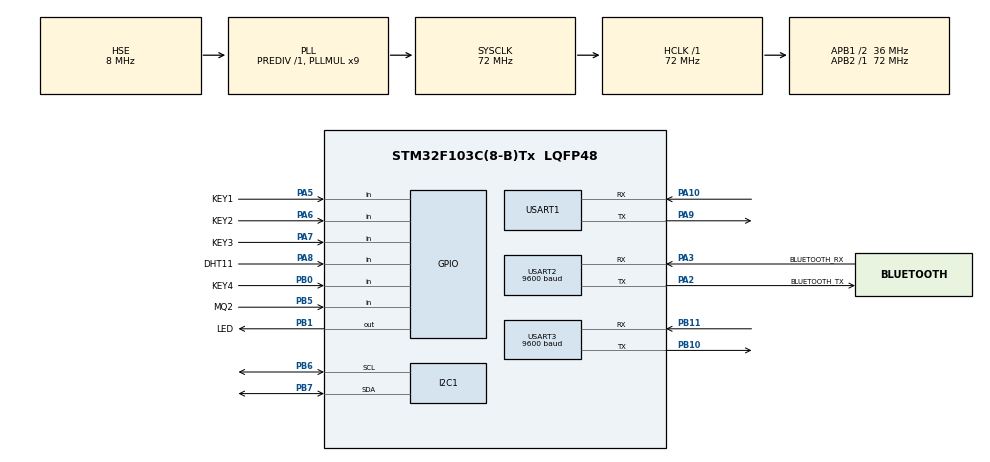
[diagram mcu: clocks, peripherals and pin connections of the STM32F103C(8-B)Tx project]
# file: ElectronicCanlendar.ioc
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Mcu.Family=STM32F1
Mcu.Name=STM32F103C(8-B)Tx
Mcu.Package=LQFP48
NVIC.PriorityGroup=NVIC_PRIORITYGROUP_4
NVIC.USART1_IRQn=true\:0\:0\:false\:false\:true\:true\:true\:true
NVIC.USART2_IRQn=true\:0\:0\:false\:false\:true\:true\:true\:true
PA10.Mode=Asynchronous
PA10.Signal=USART1_RX
PA2.GPIO_Label=BLUETOOTH_TX
PA2.Mode=Asynchronous
PA2.Signal=USART2_TX
PA3.GPIO_Label=BLUETOOTH_RX
PA3.Mode=Asynchronous
PA3.Signal=USART2_RX
PA5.GPIO_Label=KEY1
PA5.GPIO_PuPd=GPIO_PULLUP
PA5.Signal=GPIO_Input
PA6.GPIO_Label=KEY2
PA6.GPIO_PuPd=GPIO_PULLUP
PA6.Signal=GPIO_Input
PA7.GPIO_Label=KEY3
PA7.GPIO_PuPd=GPIO_PULLUP
PA7.Signal=GPIO_Input
PA8.GPIO_Label=DHT11
PA8.Signal=GPIO_Input
PA9.Mode=Asynchronous
PA9.Signal=USART1_TX
PB0.GPIO_Label=KEY4
PB0.GPIO_PuPd=GPIO_PULLUP
PB0.Signal=GPIO_Input
PB1.GPIO_Label=LED
PB1.Signal=GPIO_Output
PB10.Mode=Asynchronous
PB10.Signal=USART3_TX
PB11.Mode=Asynchronous
PB11.Signal=USART3_RX
PB5.GPIO_Label=MQ2
PB5.GPIO_PuPd=GPIO_PULLUP
PB5.Signal=GPIO_Input
PB6.Mode=I2C
PB6.Signal=I2C1_SCL
PB7.Mode=I2C
PB7.Signal=I2C1_SDA
PC14-OSC32_IN.Mode=LSE-External-Oscillator
PC14-OSC32_IN.Signal=RCC_OSC32_IN
PC15-OSC32_OUT.Mode=LSE-External-Oscillator
PC15-OSC32_OUT.Signal=RCC_OSC32_OUT
PD0-OSC_IN.Mode=HSE-External-Oscillator
PD0-OSC_IN.Signal=RCC_OSC_IN
PD1-OSC_OUT.Mode=HSE-External-Oscillator
PD1-OSC_OUT.Signal=RCC_OSC_OUT
ProjectManager.HeapSize=0x200
ProjectManager.StackSize=0x400
ProjectManager.TargetToolchain=STM32CubeIDE
RCC.AHBFreq_Value=72000000
RCC.APB1CLKDivider=RCC_HCLK_DIV2
RCC.APB1Freq_Value=36000000
RCC.APB1TimFreq_Value=72000000
RCC.APB2Freq_Value=72000000
RCC.APB2TimFreq_Value=72000000
RCC.HCLKFreq_Value=72000000
RCC.PLLMUL=RCC_PLL_MUL9
RCC.PLLSourceVirtual=RCC_PLLSOURCE_HSE
RCC.RTCClockSelection=RCC_RTCCLKSOURCE_LSE
RCC.SYSCLKFreq_VALUE=72000000
RCC.SYSCLKSource=RCC_SYSCLKSOURCE_PLLCLK
RCC.USBFreq_Value=72000000
RTC.Date=1
RTC.Hours=1
RTC.Minutes=1
RTC.Month=RTC_MONTH_JANUARY
RTC.Seconds=1
RTC.Year=1
USART1.VirtualMode=VM_ASYNC
USART2.BaudRate=9600
USART2.VirtualMode=VM_ASYNC
USART3.BaudRate=9600
USART3.VirtualMode=VM_ASYNC
VP_RTC_VS_RTC_Activate.Mode=RTC_Enabled
VP_RTC_VS_RTC_Calendar.Mode=RTC_Calendar
VP_SYS_VS_ND.Mode=No_Debug
VP_TIM3_VS_ClockSourceINT.Mode=Internal
board=custom

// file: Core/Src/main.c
/* USER CODE BEGIN Header */
/**
  ******************************************************************************
  * @file           : main.c
  * @brief          : Main program body
  ******************************************************************************
  * @attention
  *
  * Copyright (c) 2023 STMicroelectronics.
  * All rights reserved.
  *
  * This software is licensed under terms that can be found in the LICENSE file
  * in the root directory of this software component.
  * If no LICENSE file comes with this software, it is provided AS-IS.
  *
  ******************************************************************************
  */
/* USER CODE END Header */
#include "main.h"
#include "i2c.h"
#include "rtc.h"
#include "tim.h"
#include "usart.h"
#include "gpio.h"

/* USER CODE BEGIN Includes */

#include "led.h"
#include "oled.h"
#include "show.h"
#include "font.h"
#include "key.h"
#include "alarmClock.h"
#include "mq2.h"
#include "dht11.h"
#include "song.h"
#include "changeScreen.h"
//#include "lunarCanlender.h"

/* USER CODE END Includes */

void SystemClock_Config(void);

/* USER CODE BEGIN 0 */
//void HAL_GPIO_EXTI_Callback(uint16_t GPIO_Pin)
//{
//	switch(GPIO_Pin)
//	{
//	case KEY1_Pin:
//		LED_SET_OFF;
//		break;
//
//	case KEY2_Pin:
//		LED_SET_ON;
//		break;
//
//	case KEY3_Pin:
//		extrance();
//		break;
//
//	case KEY4_Pin:
//		LED_SET_ON;
//		break;
//	}
//}
/* USER CODE END 0 */

int main(void)
{

  /* MCU Configuration--------------------------------------------------------*/

  /* Reset of all peripherals, Initializes the Flash interface and the Systick. */
  HAL_Init();

  /* Configure the system clock */
  SystemClock_Config();

  /* Initialize all configured peripherals */
  MX_GPIO_Init();
  MX_I2C1_Init();
  MX_RTC_Init();
  MX_TIM3_Init();
  MX_USART1_UART_Init();
  MX_USART2_UART_Init();
  MX_USART3_UART_Init();
  /* USER CODE BEGIN 2 */
  font();
  oled_init();
  settingAMPM();
  uint8_t keyValue;		// 读取键值
  uint8_t bluetoothCommandId;		// 蓝牙命令ID
  /* USER CODE END 2 */

  /* Infinite loop */
  /* USER CODE BEGIN WHILE */
  while (1)
  {
	  // 检测闹钟时间
	  checkAlarmClock();

	  // 烟雾检测
	  MQ2_Scan();

	  // 读取处理蓝牙命令后的结果
	  switch(returnFlagBluetooth())
	  {
	  case 18:
		  oled_clear();
		  clearBluetoothCommand();

		  // 温湿度显示
		  bluetoothCommandId = returnFlagBluetooth();
		  clearBluetoothCommand();
		  while(bluetoothCommandId != 18)
		  {
			  screen1();
			  bluetoothCommandId = returnFlagBluetooth();
			  clearBluetoothCommand();
		  }
		  oled_clear();

		  // 节气
		  bluetoothCommandId = returnFlagBluetooth();
		  clearBluetoothCommand();
		  while(bluetoothCommandId != 18)
		  {
			  screen2();
			  bluetoothCommandId = returnFlagBluetooth();
			  clearBluetoothCommand();
		  }
		  oled_clear();

		  // MP3播放音乐
		  selectMusicMP3();
		  oled_clear();
		  break;

	  case 2:
		  break;

	  case 0:
		  clearBluetoothCommand();
		  extranceDateAndTime();
		  break;

	  case 5:
		  clearBluetoothCommand();
		  extranceAlarmClock();
		  break;

	  default:
		  clearBluetoothCommand();
		  RTC_TimeAndDate_Show();
		  break;
	  }

	  // 按键处理
	  switch(readKeyValue())
	  {
	  case 1:
		  oled_clear();

		  // 温湿度显示
		  keyValue = readKeyValue();
		  while(keyValue != 1)
		  {
			  screen1();
			  keyValue = readKeyValue();
		  }
		  oled_clear();

		  // 节气
		  keyValue = readKeyValue();
		  while(keyValue != 1)
		  {
			  screen2();
			  keyValue = readKeyValue();
		  }
		  oled_clear();

		  // MP3播放音乐
		  selectMusicMP3();
		  oled_clear();
		  break;

	  case 2:
		  break;

	  case 3:
		  extranceDateAndTime();
		  break;

	  case 4:
		  extranceAlarmClock();
		  break;

	  default:
		  RTC_TimeAndDate_Show();
		  break;
	  }

    /* USER CODE END WHILE */

  }
}

void SystemClock_Config(void)
{
  RCC_OscInitTypeDef RCC_OscInitStruct = {0};
  RCC_ClkInitTypeDef RCC_ClkInitStruct = {0};
  RCC_PeriphCLKInitTypeDef PeriphClkInit = {0};

  /** Initializes the RCC Oscillators according to the specified parameters
  * in the RCC_OscInitTypeDef structure.
  */
  RCC_OscInitStruct.OscillatorType = RCC_OSCILLATORTYPE_HSE|RCC_OSCILLATORTYPE_LSE;
  RCC_OscInitStruct.HSEState = RCC_HSE_ON;
  RCC_OscInitStruct.HSEPredivValue = RCC_HSE_PREDIV_DIV1;
  RCC_OscInitStruct.LSEState = RCC_LSE_ON;
  RCC_OscInitStruct.HSIState = RCC_HSI_ON;
  RCC_OscInitStruct.PLL.PLLState = RCC_PLL_ON;
  RCC_OscInitStruct.PLL.PLLSource = RCC_PLLSOURCE_HSE;
  RCC_OscInitStruct.PLL.PLLMUL = RCC_PLL_MUL9;
  if (HAL_RCC_OscConfig(&RCC_OscInitStruct) != HAL_OK)
  {
    Error_Handler();
  }

  /** Initializes the CPU, AHB and APB buses clocks
  */
  RCC_ClkInitStruct.ClockType = RCC_CLOCKTYPE_HCLK|RCC_CLOCKTYPE_SYSCLK
                              |RCC_CLOCKTYPE_PCLK1|RCC_CLOCKTYPE_PCLK2;
  RCC_ClkInitStruct.SYSCLKSource = RCC_SYSCLKSOURCE_PLLCLK;
  RCC_ClkInitStruct.AHBCLKDivider = RCC_SYSCLK_DIV1;
  RCC_ClkInitStruct.APB1CLKDivider = RCC_HCLK_DIV2;
  RCC_ClkInitStruct.APB2CLKDivider = RCC_HCLK_DIV1;

  if (HAL_RCC_ClockConfig(&RCC_ClkInitStruct, FLASH_LATENCY_2) != HAL_OK)
  {
    Error_Handler();
  }
  PeriphClkInit.PeriphClockSelection = RCC_PERIPHCLK_RTC;
  PeriphClkInit.RTCClockSelection = RCC_RTCCLKSOURCE_LSE;
  if (HAL_RCCEx_PeriphCLKConfig(&PeriphClkInit) != HAL_OK)
  {
    Error_Handler();
  }
}

void Error_Handler(void)
{
  __disable_irq();
  while (1)
  {
  }
}
